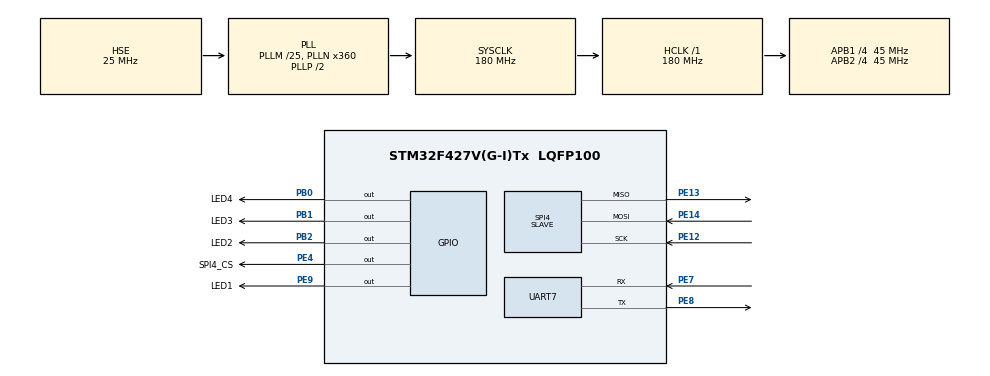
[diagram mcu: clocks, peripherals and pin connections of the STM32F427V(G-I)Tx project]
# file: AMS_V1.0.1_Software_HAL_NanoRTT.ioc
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Mcu.Family=STM32F4
Mcu.Name=STM32F427V(G-I)Tx
Mcu.Package=LQFP100
NVIC.PriorityGroup=NVIC_PRIORITYGROUP_4
PB0.GPIO_Label=LED4
PB0.PinState=GPIO_PIN_SET
PB0.Signal=GPIO_Output
PB1.GPIO_Label=LED3
PB1.PinState=GPIO_PIN_SET
PB1.Signal=GPIO_Output
PB2/BOOT1.GPIO_Label=LED2
PB2/BOOT1.PinState=GPIO_PIN_SET
PB2/BOOT1.Signal=GPIO_Output
PE12.Mode=Full_Duplex_Slave
PE12.Signal=SPI4_SCK
PE13.Mode=Full_Duplex_Slave
PE13.Signal=SPI4_MISO
PE14.Mode=Full_Duplex_Slave
PE14.Signal=SPI4_MOSI
PE4.GPIO_Label=SPI4_CS
PE4.GPIO_Speed=GPIO_SPEED_FREQ_HIGH
PE4.PinState=GPIO_PIN_SET
PE4.Signal=GPIO_Output
PE7.Mode=Asynchronous
PE7.Signal=UART7_RX
PE8.Mode=Asynchronous
PE8.Signal=UART7_TX
PE9.GPIO_Label=LED1
PE9.PinState=GPIO_PIN_SET
PE9.Signal=GPIO_Output
PH0/OSC_IN.Mode=HSE-External-Clock-Source
PH0/OSC_IN.Signal=RCC_OSC_IN
PH1/OSC_OUT.Mode=HSE-External-Clock-Source
PH1/OSC_OUT.Signal=RCC_OSC_OUT
ProjectManager.HeapSize=0x400
ProjectManager.StackSize=0x1000
ProjectManager.TargetToolchain=MDK-ARM V5.32
RCC.48MHZClocksFreq_Value=90000000
RCC.AHBFreq_Value=180000000
RCC.APB1CLKDivider=RCC_HCLK_DIV4
RCC.APB1Freq_Value=45000000
RCC.APB1TimFreq_Value=90000000
RCC.APB2CLKDivider=RCC_HCLK_DIV4
RCC.APB2Freq_Value=45000000
RCC.APB2TimFreq_Value=90000000
RCC.CortexFreq_Value=180000000
RCC.HCLKFreq_Value=180000000
RCC.HSE_VALUE=25000000
RCC.HSI_VALUE=16000000
RCC.LSE_VALUE=32768
RCC.PLLM=25
RCC.PLLN=360
RCC.PLLSourceVirtual=RCC_PLLSOURCE_HSE
RCC.SYSCLKFreq_VALUE=180000000
RCC.SYSCLKSource=RCC_SYSCLKSOURCE_PLLCLK
RCC.VCOOutputFreq_Value=360000000
SPI4.Direction=SPI_DIRECTION_2LINES
SPI4.Mode=SPI_MODE_SLAVE
SPI4.VirtualType=VM_SLAVE
UART7.VirtualMode=Asynchronous
board=custom

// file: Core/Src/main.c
/* USER CODE BEGIN Header */
/**
  ******************************************************************************
  * @file           : main.c
  * @brief          : Main program body
  ******************************************************************************
  * @attention
  *
  * <h2><center>&copy; Copyright (c) 2022 STMicroelectronics.
  * All rights reserved.</center></h2>
  *
  * This software component is licensed by ST under BSD 3-Clause license,
  * the "License"; You may not use this file except in compliance with the
  * License. You may obtain a copy of the License at:
  *                        opensource.org/licenses/BSD-3-Clause
  *
  ******************************************************************************
  */
/* USER CODE END Header */
#include "main.h"
#include "spi.h"
#include "usart.h"
#include "gpio.h"

void SystemClock_Config(void);

int main(void)
{
  /* USER CODE BEGIN 1 */
	uint16_t	xx=0;
  /* USER CODE END 1 */

  /* MCU Configuration--------------------------------------------------------*/

  /* Reset of all peripherals, Initializes the Flash interface and the Systick. */
  HAL_Init();

  /* Configure the system clock */
  SystemClock_Config();

  /* Initialize all configured peripherals */
  MX_GPIO_Init();
  MX_UART7_Init();
  MX_SPI4_Init();

  /* Infinite loop */
  /* USER CODE BEGIN WHILE */
	rt_thread_mdelay(100);

	rt_kprintf("123456\r\n");
	ams_thread_init();

  while (1)
  {
    /* USER CODE END WHILE */

    /* USER CODE BEGIN 3 */
		rt_kprintf("xx=%d\r\n",xx++);
		rt_thread_mdelay(100);
  }
  /* USER CODE END 3 */
}

void SystemClock_Config(void)
{
  RCC_OscInitTypeDef RCC_OscInitStruct = {0};
  RCC_ClkInitTypeDef RCC_ClkInitStruct = {0};

  /** Configure the main internal regulator output voltage
  */
  __HAL_RCC_PWR_CLK_ENABLE();
  __HAL_PWR_VOLTAGESCALING_CONFIG(PWR_REGULATOR_VOLTAGE_SCALE1);
  /** Initializes the RCC Oscillators according to the specified parameters
  * in the RCC_OscInitTypeDef structure.
  */
  RCC_OscInitStruct.OscillatorType = RCC_OSCILLATORTYPE_HSE;
  RCC_OscInitStruct.HSEState = RCC_HSE_BYPASS;
  RCC_OscInitStruct.PLL.PLLState = RCC_PLL_ON;
  RCC_OscInitStruct.PLL.PLLSource = RCC_PLLSOURCE_HSE;
  RCC_OscInitStruct.PLL.PLLM = 25;
  RCC_OscInitStruct.PLL.PLLN = 360;
  RCC_OscInitStruct.PLL.PLLP = RCC_PLLP_DIV2;
  RCC_OscInitStruct.PLL.PLLQ = 4;
  if (HAL_RCC_OscConfig(&RCC_OscInitStruct) != HAL_OK)
  {
    Error_Handler();
  }
  /** Activate the Over-Drive mode
  */
  if (HAL_PWREx_EnableOverDrive() != HAL_OK)
  {
    Error_Handler();
  }
  /** Initializes the CPU, AHB and APB buses clocks
  */
  RCC_ClkInitStruct.ClockType = RCC_CLOCKTYPE_HCLK|RCC_CLOCKTYPE_SYSCLK
                              |RCC_CLOCKTYPE_PCLK1|RCC_CLOCKTYPE_PCLK2;
  RCC_ClkInitStruct.SYSCLKSource = RCC_SYSCLKSOURCE_PLLCLK;
  RCC_ClkInitStruct.AHBCLKDivider = RCC_SYSCLK_DIV1;
  RCC_ClkInitStruct.APB1CLKDivider = RCC_HCLK_DIV4;
  RCC_ClkInitStruct.APB2CLKDivider = RCC_HCLK_DIV4;

  if (HAL_RCC_ClockConfig(&RCC_ClkInitStruct, FLASH_LATENCY_5) != HAL_OK)
  {
    Error_Handler();
  }
}

/* USER CODE BEGIN 4 */
void LED_ON(unsigned char bits)
{
	if(bits&LED1)   HAL_GPIO_WritePin(LED1_GPIO_Port, LED1_Pin, GPIO_PIN_RESET);
	if(bits&LED2)   HAL_GPIO_WritePin(LED2_GPIO_Port, LED2_Pin, GPIO_PIN_RESET);
	if(bits&LED3)   HAL_GPIO_WritePin(LED3_GPIO_Port, LED3_Pin, GPIO_PIN_RESET);
	if(bits&LED4)   HAL_GPIO_WritePin(LED4_GPIO_Port, LED4_Pin, GPIO_PIN_RESET);
}

void LED_OFF(unsigned char bits)
{
	if(bits&LED1)   HAL_GPIO_WritePin(LED1_GPIO_Port, LED1_Pin, GPIO_PIN_SET);
	if(bits&LED2)   HAL_GPIO_WritePin(LED2_GPIO_Port, LED2_Pin, GPIO_PIN_SET);
	if(bits&LED3)   HAL_GPIO_WritePin(LED3_GPIO_Port, LED3_Pin, GPIO_PIN_SET);
	if(bits&LED4)   HAL_GPIO_WritePin(LED4_GPIO_Port, LED4_Pin, GPIO_PIN_SET);
}
/* USER CODE END 4 */

void Error_Handler(void)
{
  __disable_irq();
  while (1)
  {
  }
}

/************************ (C) COPYRIGHT STMicroelectronics *****END OF FILE****/
